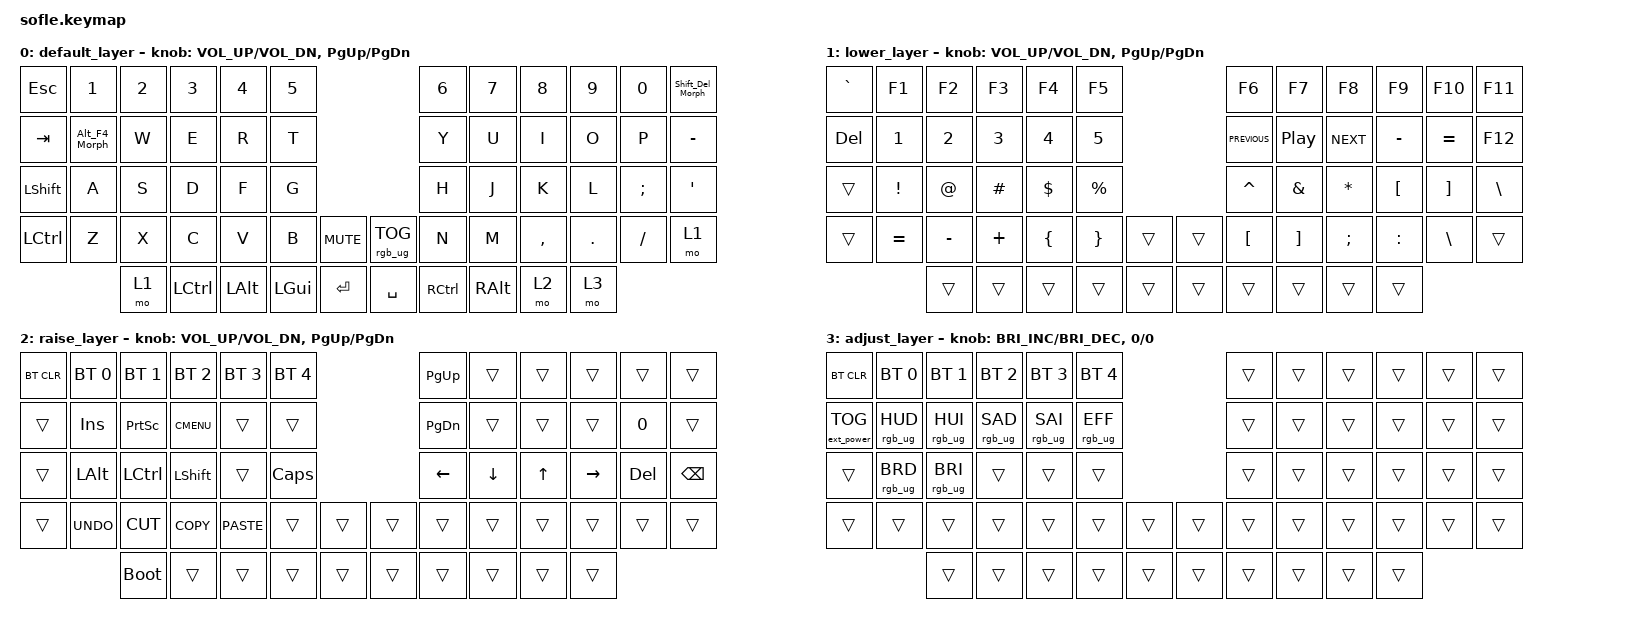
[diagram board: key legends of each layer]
/*
 * Copyright (c) 2020 The ZMK Contributors
 *
 * SPDX-License-Identifier: MIT
 */

#include <behaviors.dtsi>
#include <dt-bindings/zmk/bt.h>
#include <dt-bindings/zmk/ext_power.h>
#include <dt-bindings/zmk/keys.h>
#include <dt-bindings/zmk/rgb.h>

#define BASE 0
#define LOWER 1
#define RAISE 2
#define ADJUST 3

/ {
    // Activate ADJUST layer by pressing raise and lower

    conditional_layers {
        compatible = "zmk,conditional-layers";

        adjust_layer {
            if-layers = <LOWER RAISE>;
            then-layer = <ADJUST>;
        };
    };

    macros {
        Shift_Del: Shift_Del {
            compatible = "zmk,behavior-macro";
            #binding-cells = <0>;
            bindings = <&macro_press>, <&kp DEL>, <&macro_release>;

            label = "SHIFT_DEL";
        };
    };

    behaviors {
        Shift_Del_Morph: Shift_Del_Morph {
            compatible = "zmk,behavior-mod-morph";
            label = "SHIFT_DEL_MORPH";
            bindings = <&kp BACKSPACE>, <&Shift_Del>;

            #binding-cells = <0>;
            mods = <(MOD_LSFT)>;
            keep-mods = <(MOD_LSFT)>;
        };

        Alt_F4_Morph: Alt_F4_Morph {
            compatible = "zmk,behavior-mod-morph";
            label = "ALT_F4_MORPH";
            bindings = <&kp Q>, <&kp F4>;

            #binding-cells = <0>;
            mods = <(MOD_LALT)>;
            keep-mods = <(MOD_LALT)>;
        };
    };

    keymap {
        compatible = "zmk,keymap";

        default_layer {
            // ------------------------------------------------------------------------------------------------------------
            // |   `   |  1  |  2  |  3   |  4   |  5   |                   |  6   |  7    |  8    |  9   |   0   |       |
            // |  ESC  |  Q  |  W  |  E   |  R   |  T   |                   |  Y   |  U    |  I    |  O   |   P   | BKSPC |
            // |  TAB  |  A  |  S  |  D   |  F   |  G   |                   |  H   |  J    |  K    |  L   |   ;   |   '   |
            // | SHIFT |  Z  |  X  |  C   |  V   |  B   |  MUTE  |  |       |  N   |  M    |  ,    |  .   |   /   | SHIFT |
            //               | GUI | ALT  | CTRL | LOWER|  ENTER |  | SPACE | RAISE| CTRL  | ALT   | GUI  |

            bindings = <
&kp ESC    &kp N1         &kp N2  &kp N3     &kp N4    &kp N5                                   &kp N6     &kp N7    &kp N8     &kp N9   &kp N0    &Shift_Del_Morph
&kp TAB    &Alt_F4_Morph  &kp W   &kp E      &kp R     &kp T                                    &kp Y      &kp U     &kp I      &kp O    &kp P     &kp MINUS
&kp LSHFT  &kp A          &kp S   &kp D      &kp F     &kp G                                    &kp H      &kp J     &kp K      &kp L    &kp SEMI  &kp SQT
&kp LCTRL  &kp Z          &kp X   &kp C      &kp V     &kp B     &kp C_MUTE    &rgb_ug RGB_TOG  &kp N      &kp M     &kp COMMA  &kp DOT  &kp FSLH  &mo 1
                          &mo 1   &kp LCTRL  &kp LALT  &kp LGUI  &kp RET       &kp SPACE        &kp RCTRL  &kp RALT  &mo 2      &mo 3
            >;

            sensor-bindings = <&inc_dec_kp C_VOL_UP C_VOL_DN &inc_dec_kp PG_UP PG_DN>;
        };

        lower_layer {
            // TODO: Some binds are waiting for shifted keycode support.
            // ------------------------------------------------------------------------------------------------------------
            // |       |  F1 |  F2 |  F3  |  F4  |  F5  |                   |  F6  |  F7   |  F8   |  F9  |  F10  |  F11  |
            // |   `   |  1  |  2  |  3   |  4   |  5   |                   |  6   |  7    |  8    |  9   |   0   |  F12  |
            // |       |  !  |  @  |  #   |  $   |  %   |                   |  ^   |  &    |  *    |  (   |   )   |   |   |
            // |       |  =  |  -  |  +   |  {   |  }   |        |  |       |  [   |  ]    |  ;    |  :   |   \   |       |
            //               |     |      |      |      |        |  |       |      |       |       |      |

            bindings = <
&kp GRAVE  &kp F1     &kp F2     &kp F3    &kp F4    &kp F5                       &kp F6          &kp F7            &kp F8      &kp F9            &kp F10            &kp F11
&kp DEL    &kp N1     &kp N2     &kp N3    &kp N4    &kp N5                       &kp C_PREVIOUS  &kp C_PLAY_PAUSE  &kp C_NEXT  &kp MINUS         &kp EQUAL          &kp F12
&trans     &kp EXCL   &kp AT     &kp HASH  &kp DLLR  &kp PRCNT                    &kp CARET       &kp AMPS          &kp ASTRK   &kp LEFT_BRACKET  &kp RIGHT_BRACKET  &kp BACKSLASH
&trans     &kp EQUAL  &kp MINUS  &kp PLUS  &kp LBRC  &kp RBRC   &trans    &trans  &kp LBKT        &kp RBKT          &kp SEMI    &kp COLON         &kp BSLH           &trans
                      &trans     &trans    &trans    &trans     &trans    &trans  &trans          &trans            &trans      &trans
            >;

            sensor-bindings = <&inc_dec_kp C_VOL_UP C_VOL_DN &inc_dec_kp PG_UP PG_DN>;
        };

        raise_layer {
            // ------------------------------------------------------------------------------------------------------------
            // | BTCLR | BT1  | BT2  |  BT3  |  BT4  |  BT5 |                |      |      |       |      |       |       |
            // |       | INS  | PSCR | GUI   |       |      |                | PGUP |      |   ^   |      |       |       |
            // |       | ALT  | CTRL | SHIFT |       | CAPS |                | PGDN |   <- |   v   |  ->  |  DEL  | BKSPC |
            // |       | UNDO | CUT  | COPY  | PASTE |      |      |  |      |      |      |       |      |       |       |
            //                |      |       |       |      |      |  |      |      |      |       |      |

            bindings = <
&bt BT_CLR  &bt BT_SEL 0  &bt BT_SEL 1  &bt BT_SEL 2  &bt BT_SEL 3  &bt BT_SEL 4                    &kp PAGE_UP     &trans          &trans        &trans           &trans   &trans
&trans      &kp INS       &kp PSCRN     &kp K_CMENU   &trans        &trans                          &kp PAGE_DOWN   &trans          &trans        &trans           &kp N0   &trans
&trans      &kp LALT      &kp LCTRL     &kp LSHFT     &trans        &kp CLCK                        &kp LEFT_ARROW  &kp DOWN_ARROW  &kp UP_ARROW  &kp RIGHT_ARROW  &kp DEL  &kp BSPC
&trans      &kp K_UNDO    &kp K_CUT     &kp K_COPY    &kp K_PASTE   &trans        &trans    &trans  &trans          &trans          &trans        &trans           &trans   &trans
                          &bootloader   &trans        &trans        &trans        &trans    &trans  &trans          &trans          &trans        &trans
            >;

            sensor-bindings = <&inc_dec_kp C_VOL_UP C_VOL_DN &inc_dec_kp PG_UP PG_DN>;
        };

        adjust_layer {
            // ----------------------------------------------------------------------------------------------------------------------------
            // | BTCLR  |  BT1    |  BT2    |   BT3   |   BT4   |   BT5   |                  |      |      |       |      |       |       |
            // | EXTPWR | RGB_HUD | RGB_HUI | RGB_SAD | RGB_SAI | RGB_EFF |                  |      |      |       |      |       |       |
            // |        | RGB_BRD | RGB_BRI |         |         |         |                  |      |      |       |      |       |       |
            // |        |         |         |         |         |         | RGB_TOG | |      |      |      |       |      |       |       |
            //                    |         |         |         |         |         | |      |      |      |       |      |

            bindings = <
&bt BT_CLR         &bt BT_SEL 0     &bt BT_SEL 1     &bt BT_SEL 2     &bt BT_SEL 3     &bt BT_SEL 4                       &trans  &trans  &trans  &trans  &trans  &trans
&ext_power EP_TOG  &rgb_ug RGB_HUD  &rgb_ug RGB_HUI  &rgb_ug RGB_SAD  &rgb_ug RGB_SAI  &rgb_ug RGB_EFF                    &trans  &trans  &trans  &trans  &trans  &trans
&trans             &rgb_ug RGB_BRD  &rgb_ug RGB_BRI  &trans           &trans           &trans                             &trans  &trans  &trans  &trans  &trans  &trans
&trans             &trans           &trans           &trans           &trans           &trans           &trans    &trans  &trans  &trans  &trans  &trans  &trans  &trans
                                    &trans           &trans           &trans           &trans           &trans    &trans  &trans  &trans  &trans  &trans
            >;

            sensor-bindings =
                <&inc_dec_kp C_BRIGHTNESS_INC C_BRIGHTNESS_DEC>,
                <&inc_dec_kp 0 0>;
        };

        extra1 { status = "reserved"; };

        extra2 { status = "reserved"; };

        extra3 { status = "reserved"; };

        extra4 { status = "reserved"; };
    };
};
